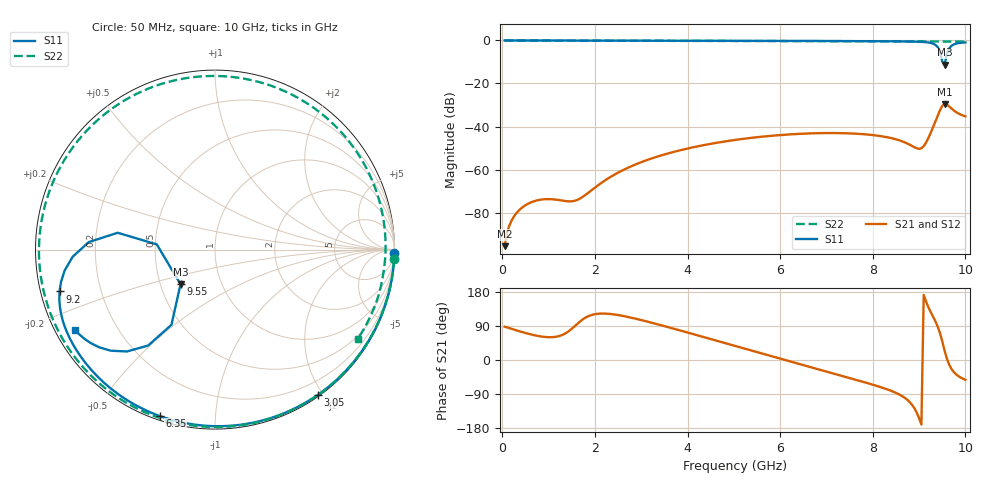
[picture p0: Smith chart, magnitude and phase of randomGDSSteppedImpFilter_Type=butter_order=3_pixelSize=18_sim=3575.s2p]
! freq	dB(S11)	phase(S11)	dB(S12)	phase(S12)
!  dB(S21)	phase(S21)	dB(S22)	phase(S22)
!S-par simulation data
#  GHz  S  DB  R 50
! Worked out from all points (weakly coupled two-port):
!   200 points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, 50 MHz to 10 GHz, reference 50 ohm
!   highest |S21| = -29.56 dB at 9.55 GHz (marker M1); lowest = -95.6 dB at 50 MHz (marker M2)
!   lowest |S11| = -11.3 dB at 9.55 GHz (marker M3), VSWR 1.75, Z = 31.7 - j13.2 ohm
!   |S11| at or under -10 dB: 9.508 GHz to 9.563 GHz (54.8 MHz wide, 0.575 % of centre)
!   |S22| runs from -0.6 to 0.0 dB; largest |S21 - S12| = 0
!   S11 on the Smith chart (normalised r, x): 50 MHz: open; 3.05 GHz: 0.02, -1.93; 6.35 GHz: 0.02, -0.72; 9.2 GHz: 0.06, -0.13; 9.55 GHz: 0.63, -0.26; 10 GHz: 0.06, -0.27
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0.05  -0.00 -0.9  -95.63 88.0  -95.63 88.0  -0.00 -3.1
0.3  -0.01 -5.6  -80.40 78.4  -80.40 78.4  -0.03 -18.4
0.95  -0.02 -17.5  -73.76 60.5  -73.76 60.5  -0.07 -56.2
1.5  -0.03 -27.5  -74.76 82.4  -74.76 82.4  -0.10 -84.8
1.75  -0.04 -32.0  -72.52 108.2  -72.52 108.2  -0.10 -96.6
2.4  -0.06 -43.5  -62.64 120.5  -62.64 120.5  -0.12 -124.4
3.05  -0.07 -54.8  -56.18 103.9  -56.18 103.9  -0.14 -148.6
3.4  -0.08 -60.8  -53.64 92.7  -53.64 92.7  -0.15 -160.6
4.2  -0.10 -74.2  -49.30 65.7  -49.30 65.7  -0.18 173.7
5.05  -0.14 -87.9  -46.17 36.4  -46.17 36.4  -0.21 147.4
6.35  -0.20 -108.4  -43.49 -8.4  -43.49 -8.4  -0.27 106.2
6.7  -0.22 -113.9  -43.17 -20.3  -43.17 -20.3  -0.28 94.5
7.5  -0.29 -126.5  -43.20 -47.5  -43.20 -47.5  -0.32 66.3
8.35  -0.38 -141.0  -45.15 -79.2  -45.15 -79.2  -0.36 34.2
9  -0.61 -156.3  -50.37 -153.4  -50.37 -153.4  -0.42 8.5
9.2  -0.94 -164.9  -45.38 139.8  -45.38 139.8  -0.44 0.5
9.35  -2.00 -177.1  -37.79 102.6  -37.79 102.6  -0.46 -5.6
9.45  -5.19 170.2  -32.51 71.5  -32.51 71.5  -0.47 -9.6
9.55  -11.30 -134.9  -29.56 25.2  -29.56 25.2  -0.48 -13.6
9.6  -6.30 -120.1  -29.83 3.7  -29.83 3.7  -0.48 -15.7
9.7  -2.49 -130.9  -31.65 -23.7  -31.65 -23.7  -0.50 -19.8
10  -0.92 -150.1  -35.29 -52.2  -35.29 -52.2  -0.55 -31.9
